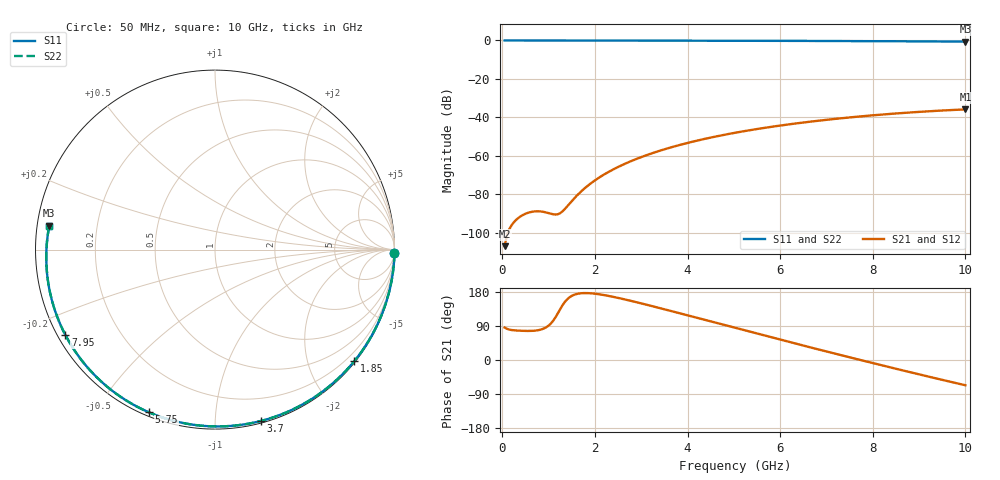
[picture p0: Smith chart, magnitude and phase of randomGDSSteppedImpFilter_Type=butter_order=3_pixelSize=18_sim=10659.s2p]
! freq	dB(S11)	phase(S11)	dB(S12)	phase(S12)
!  dB(S21)	phase(S21)	dB(S22)	phase(S22)
!S-par simulation data
#  GHz  S  DB  R 50
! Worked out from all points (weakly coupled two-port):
!   200 points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, 50 MHz to 10 GHz, reference 50 ohm
!   highest |S21| = -35.83 dB at 10 GHz (marker M1); lowest = -107.0 dB at 50 MHz (marker M2)
!   lowest |S11| = -0.6 dB at 10 GHz (marker M3), VSWR 28.81, Z = 1.74 + j3.59 ohm
!   |S11| at or under -10 dB: nowhere
!   |S22| runs from -0.6 to 0.0 dB; largest |S21 - S12| = 0
!   S11 on the Smith chart (normalised r, x): 50 MHz: open; 1.85 GHz: 0.03, -2.84; 3.7 GHz: 0.02, -1.30; 5.75 GHz: 0.02, -0.67; 7.95 GHz: 0.02, -0.27; 10 GHz: 0.03, +0.07
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0.05  -0.00 -1.1  -106.95 85.6  -106.95 85.6  -0.00 -1.1
0.4  -0.01 -8.5  -91.37 77.2  -91.37 77.2  -0.01 -8.5
0.8  -0.02 -17.0  -88.85 79.3  -88.85 79.3  -0.02 -17.0
1.2  -0.03 -25.4  -90.34 123.3  -90.34 123.3  -0.03 -25.4
1.6  -0.04 -33.6  -80.90 174.0  -80.90 174.0  -0.04 -33.6
1.65  -0.04 -34.6  -79.69 175.3  -79.69 175.3  -0.04 -34.6
1.75  -0.05 -36.7  -77.46 176.5  -77.46 176.5  -0.05 -36.7
1.85  -0.05 -38.7  -75.44 176.5  -75.44 176.5  -0.05 -38.7
2.15  -0.06 -44.8  -70.39 172.3  -70.39 172.3  -0.06 -44.8
2.5  -0.07 -51.8  -65.78 163.9  -65.78 163.9  -0.07 -51.8
2.9  -0.08 -59.7  -61.57 152.5  -61.57 152.5  -0.08 -59.7
3.4  -0.09 -69.4  -57.34 137.0  -57.34 137.0  -0.09 -69.4
3.7  -0.10 -75.1  -55.20 127.5  -55.20 127.5  -0.10 -75.1
4.35  -0.12 -87.1  -51.28 106.6  -51.28 106.6  -0.12 -87.1
5.05  -0.15 -99.8  -47.89 84.0  -47.89 84.0  -0.15 -99.8
5.75  -0.19 -112.1  -45.12 61.7  -45.12 61.7  -0.19 -112.2
6.7  -0.25 -128.6  -42.08 31.8  -42.08 31.8  -0.25 -128.6
7.35  -0.30 -139.8  -40.37 11.7  -40.37 11.7  -0.30 -139.8
7.95  -0.36 -150.3  -39.03 -6.6  -39.03 -6.6  -0.36 -150.3
8.35  -0.40 -157.3  -38.24 -18.6  -38.24 -18.6  -0.40 -157.3
9.2  -0.50 -172.8  -36.83 -43.7  -36.83 -43.7  -0.50 -172.8
10  -0.60 171.8  -35.83 -66.7  -35.83 -66.7  -0.60 171.8
